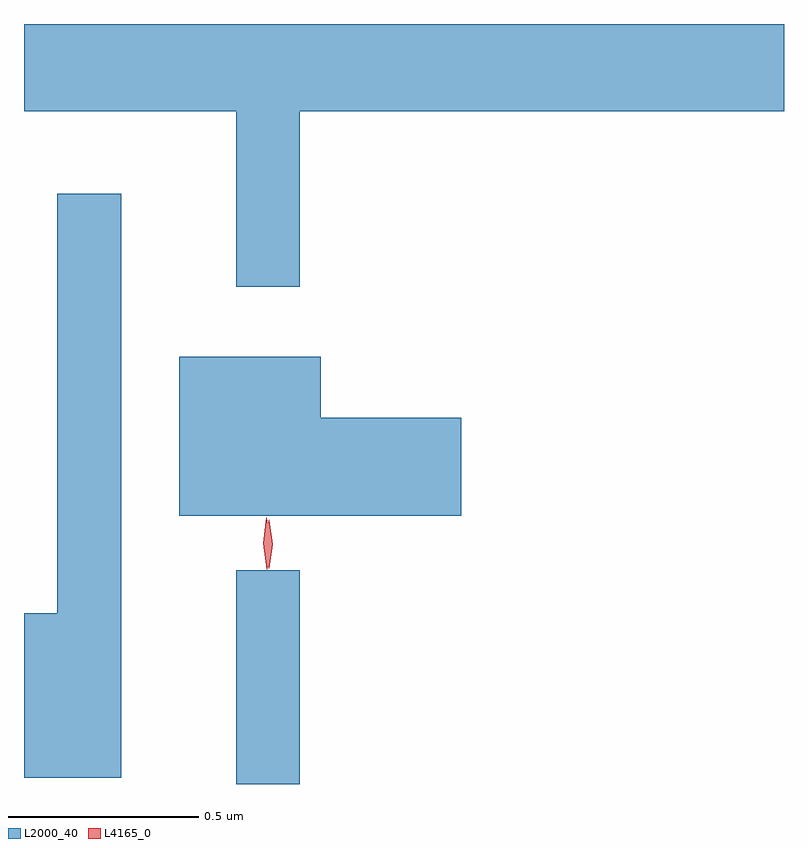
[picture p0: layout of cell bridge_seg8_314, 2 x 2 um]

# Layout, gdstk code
import gdstk
lib = gdstk.Library(unit=1e-6, precision=1e-09)
def R(c, l, rs):  # rectangles x0, y0, x1, y1
    for r in rs: c.add(gdstk.rectangle(r[:2], r[2:], *l))
def P(c, l, *ps):  # polygons
    for p in ps: c.add(gdstk.Polygon(p, *l))
L2000_40 = (2000, 40)
L4165_0 = (4165, 0)

bridge_seg8_314 = lib.new_cell('bridge_seg8_314')
R(bridge_seg8_314, L2000_40, [(968.961,1910.125,969.129,1910.688)])
P(bridge_seg8_314, L2000_40, [(969.129,1911.896),(970.403,1911.896),(970.403,1912.125),(968.403,1912.125),(968.403,1911.896),(968.961,1911.896),(968.961,1911.433),(969.129,1911.433)],
  [(968.659,1911.678),(968.491,1911.678),(968.491,1910.574),(968.403,1910.574),(968.403,1910.141),(968.659,1910.141)],
  [(969.554,1911.089),(969.184,1911.089),(969.184,1911.249),(968.811,1911.249),(968.811,1910.831),(969.554,1910.831)])
P(bridge_seg8_314, L4165_0, [(969.042,1910.69),(969.032,1910.758),(969.041,1910.826),(969.042,1910.826),(969.042,1910.826),(969.052,1910.758),(969.043,1910.69),(969.043,1910.69)],
  [(969.047,1910.693),(969.038,1910.756),(969.047,1910.819),(969.048,1910.82),(969.048,1910.819),(969.058,1910.756),(969.048,1910.693),(969.048,1910.693)])

lib.write_gds('bridge_seg8_314.gds')
